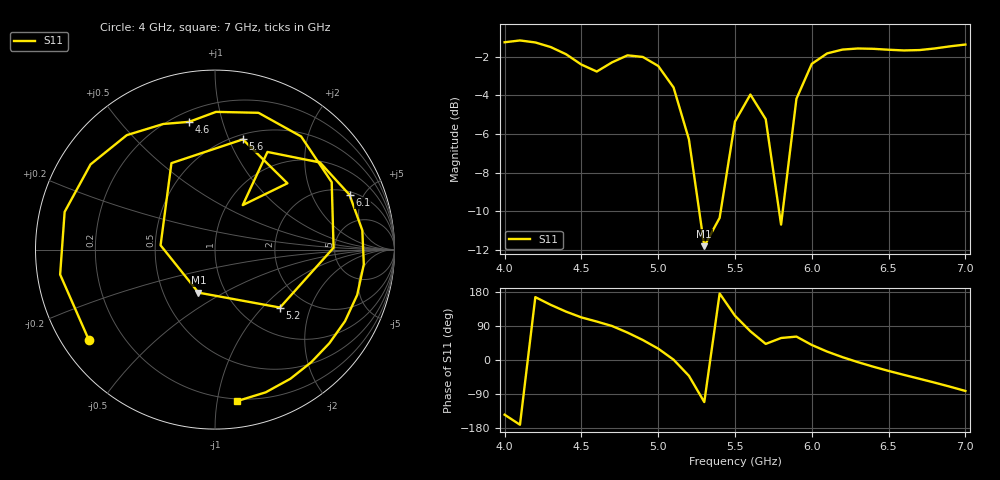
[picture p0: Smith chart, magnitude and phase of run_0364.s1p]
! Touchstone file exported from HFSS 2024.2.0
!  File:  C:/Users/wsak9/Desktop/Sim Fast/Widenad Patch/WP_AI_V1_sweep.aedt
!  Generated:  06:29:34 AM Oct 14, 2026
!  Design:  A1_model
!  Project:  WP_AI_V1_sweep
!  Setup:  Setup1
!  Solution:  Sweep
! Variables:
!  Air_gap = 1.84mm
!  Curve_Amp1 = 3.76
!  Curve_len1 = 1
!  Curve_pos = 10.88mm
!  Extra = 7.86mm
!  H_sub = 0.79mm
!  L_Patch = 17.76mm
!  L_Patch1 = 20.83mm
!  Sx = 3.14mm
!  Sy = 3.94mm
!  WS = 1.04mm
!  W_Patch = 19.92mm
!  W_Patch1 = 12.97mm
!Data is not renormalized
# GHz S MA
! Terminal data exported
! Port[1] = 1
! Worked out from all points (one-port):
!   31 points, 4 GHz to 7 GHz, reference per port
!   lowest |S11| = -11.8 dB at 5.3 GHz (marker M1), VSWR 1.69
!   |S11| at or under -10 dB: 5.267 GHz to 5.407 GHz (139.5 MHz wide, 2.61 % of centre); 5.787347 GHz to 5.810603 GHz (23.26 MHz wide, 0.401 % of centre)
!   S11 on the Smith chart (normalised r, x): 4 GHz: 0.08, -0.32; 4.6 GHz: 0.26, +0.78; 5.2 GHz: 1.50, -1.26; 5.6 GHz: 0.55, +1.13; 6.1 GHz: 2.21, +3.91; 7 GHz: 0.18, -1.14
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4  0.8646 -144.4
4.1  0.8739 -170.9
4.2  0.8637 165.9
4.3  0.8403 145.6
4.4  0.8052 127.6
4.5  0.7571 112.4
4.6  0.7263 101.5
4.7  0.7673 89.6
4.8  0.7998 72.4
4.9  0.7922 52.7
5  0.7509 30.0
5.1  0.6607 0.9
5.2  0.4851 -41.7
5.3  0.2569 -111.0
5.4  0.3041 175.5
5.5  0.5394 116.7
5.6  0.6334 75.8
5.7  0.547 42.5
5.8  0.2921 58.0
5.9  0.6176 61.8
6  0.7603 39.7
6.1  0.8092 22.2
6.2  0.8278 7.4
6.3  0.8332 -5.7
6.5  0.827 -28.8
6.7  0.8253 -49.5
6.9  0.8439 -70.4
7  0.8529 -81.7
